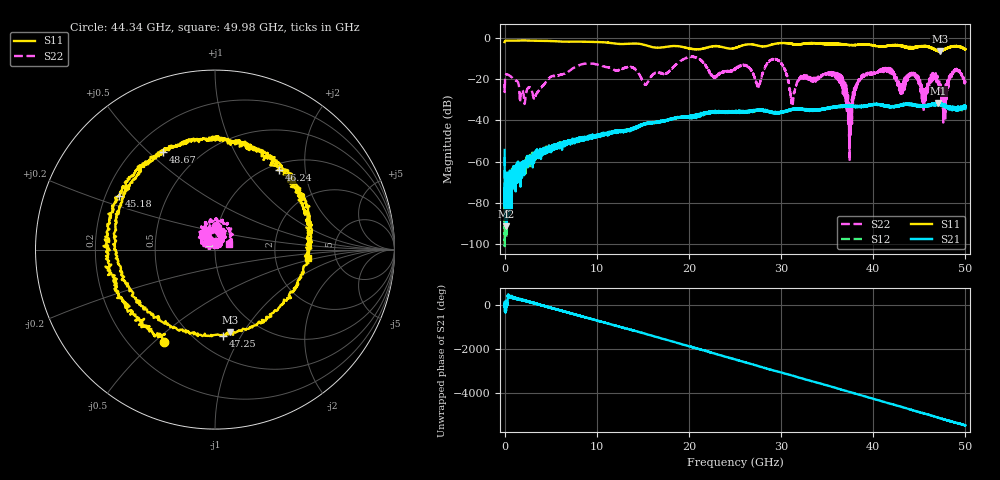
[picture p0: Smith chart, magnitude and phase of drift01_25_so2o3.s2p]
!Created with skrf (http://scikit-rf.org).
# Hz S RI R 50.0
!freq ReS11 ImS11 ReS21 ImS21 ReS12 ImS12 ReS22 ImS22
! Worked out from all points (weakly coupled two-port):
!   10001 points, 300 kHz to 50 GHz, reference 50 ohm
!   highest |S21| = -31.63 dB at 47.08 GHz (marker M1); lowest = -91.3 dB at 165.3 MHz (marker M2)
!   lowest |S11| = -6.6 dB at 47.22 GHz (marker M3), VSWR 2.75, Z = 37.3 - j43.7 ohm
!   |S11| at or under -10 dB: nowhere
!   |S22| runs from -59.8 to -9.2 dB; largest |S21 - S12| = 0.0037
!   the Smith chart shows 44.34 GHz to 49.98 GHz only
!   S11 on the Smith chart (normalised r, x): 44.34 GHz: 0.34, -0.54; 45.18 GHz: 0.25, +0.25; 46.24 GHz: 1.11, +1.46; 47.25 GHz: 0.67, -0.84; 48.67 GHz: 0.32, +0.56; 49.98 GHz: 3.13, -0.41
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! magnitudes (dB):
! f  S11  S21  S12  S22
! 300 kHz  -2.1  -54.3  -57.9  -22.4
! 165.3 MHz  -1.5  -91.3  -76.5  -17.7
! 3.29 GHz  -1.5  -58.0  -57.1  -28.9
! 8.335 GHz  -1.9  -49.1  -48.8  -12.9
! 16.67 GHz  -4.9  -40.8  -40.6  -16.7
! 25 GHz  -5.0  -35.8  -35.9  -15.5
! 29.58 GHz  -2.8  -36.7  -36.1  -10.6
! 31.23 GHz  -3.1  -34.6  -34.6  -31.3
! 33.34 GHz  -2.6  -35.2  -34.9  -19.8
! 36.26 GHz  -3.0  -32.9  -33.2  -19.0
! 37.47 GHz  -3.6  -33.2  -33.2  -42.8
! 38.63 GHz  -3.4  -33.5  -33.4  -19.8
! 41.67 GHz  -3.9  -33.3  -33.4  -15.7
! 44.34 GHz  -4.6  -32.5  -32.4  -17.5
! 45.18 GHz  -4.2  -32.8  -33.1  -24.7
! 46.24 GHz  -4.9  -32.6  -32.4  -20.2
! 47.08 GHz  -6.5  -31.6  -32.3  -22.3
! 47.22 GHz  -6.6  -32.2  -32.2  -24.6
! 47.25 GHz  -6.4  -32.6  -32.1  -25.5
! 48.67 GHz  -4.2  -34.1  -34.5  -16.6
! 49.98 GHz  -5.6  -32.9  -34.0  -21.4
! 50 GHz  -5.6  -34.5  -34.0  -22.0
